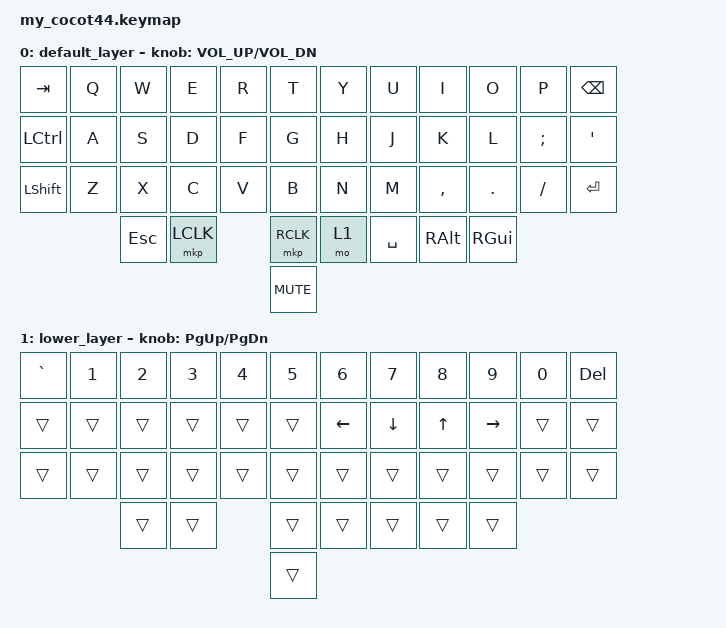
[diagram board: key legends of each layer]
#include <behaviors.dtsi>
#include <dt-bindings/zmk/keys.h>
#include <dt-bindings/zmk/pointing.h>

/ {
    keymap {
        compatible = "zmk,keymap";

        default_layer {
            bindings = <
                &kp TAB   &kp Q &kp W &kp E &kp R &kp T         &kp Y &kp U &kp I     &kp O   &kp P    &kp BSPC
                &kp LCTRL &kp A &kp S &kp D &kp F &kp G         &kp H &kp J &kp K     &kp L   &kp SEMI &kp SQT
                &kp LSHFT &kp Z &kp X &kp C &kp V &kp B         &kp N &kp M &kp COMMA &kp DOT &kp FSLH &kp RET
                                &kp ESC &mkp LCLK &mkp RCLK &mo 1   &kp SPACE &kp RALT &kp RGUI
                                                  &kp C_MUTE
            >;
            sensor-bindings = <&inc_dec_kp C_VOL_UP C_VOL_DN>;
        };

        lower_layer {
            bindings = <
                &kp GRAVE &kp N1 &kp N2 &kp N3 &kp N4 &kp N5     &kp N6 &kp N7 &kp N8 &kp N9 &kp N0 &kp DEL
                &trans    &trans &trans &trans &trans &trans     &kp LEFT &kp DOWN &kp UP &kp RIGHT &trans &trans
                &trans    &trans &trans &trans &trans &trans     &trans &trans &trans &trans &trans &trans
                                 &trans &trans &trans &trans     &trans &trans &trans
                                               &trans
            >;
            sensor-bindings = <&inc_dec_kp PG_UP PG_DN>;
        };
    };
};
